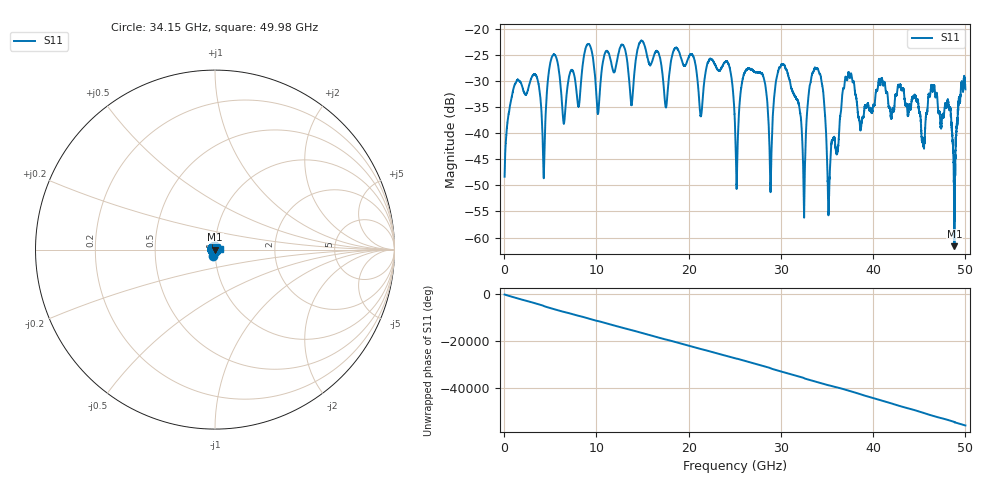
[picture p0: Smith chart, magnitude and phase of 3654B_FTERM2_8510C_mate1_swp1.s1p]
!Created with skrf (http://scikit-rf.org).
# Hz S RI R 50.0
!freq ReS11 ImS11
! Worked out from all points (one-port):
!   10001 points, 45 MHz to 50 GHz, reference 50 ohm
!   lowest |S11| = -61.7 dB at 48.81 GHz (marker M1), VSWR 1.00, Z = 50.1 - j0.0207 ohm
!   |S11| at or under -10 dB: start of sweep to end of sweep
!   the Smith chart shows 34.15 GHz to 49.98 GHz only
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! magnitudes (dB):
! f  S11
! 45 MHz  -48.3
! 1.359 GHz  -29.9
! 3.482 GHz  -29.0
! 4.281 GHz  -48.4
! 5.44 GHz  -24.9
! 6.289 GHz  -34.8
! 12.53 GHz  -23.7
! 17.53 GHz  -35.0
! 18.78 GHz  -23.7
! 21.32 GHz  -36.7
! 24.22 GHz  -26.3
! 25.02 GHz  -38.7
! 26.36 GHz  -27.7
! 28.11 GHz  -29.2
! 28.86 GHz  -50.6
! 29.82 GHz  -27.4
! 31.27 GHz  -32.0
! 32.5 GHz  -55.0
! 33.2 GHz  -30.3
! 34.11 GHz  -28.2
! 35.2 GHz  -54.2
! 37.51 GHz  -29.2
! 38.61 GHz  -39.0
! 43.76 GHz  -36.7
! 45.43 GHz  -42.3
! 46.49 GHz  -31.8
! 48.81 GHz  -61.7
! 50 GHz  -31.5
